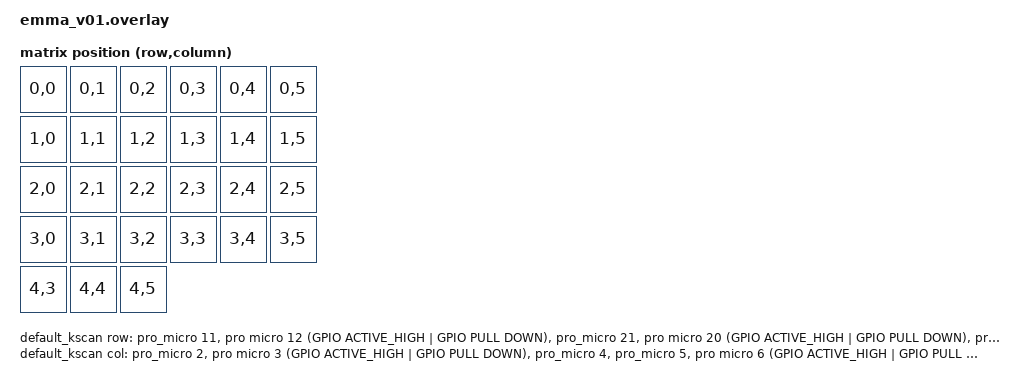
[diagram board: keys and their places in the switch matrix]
#include <dt-bindings/zmk/matrix_transform.h>

/{
    chosen {
        zmk, kscan &default_kscan;
        zmk,matrix_transform = &default_transform;
    };

    default_kscan: kscan {
        compatible "zmk, kscan-gpio-matrix";
        label = "default_kscan";
        diode-direction = "col2row";

        row-gpios = <&pro_micro 11 (GPIO_ACTIVE_HIGH | GPIO_PULL_DOWN)>,
                    <&pro micro 12 (GPIO ACTIVE_HIGH | GPIO PULL DOWN)>,
                    <&pro_micro 21 (GPIO_ACTIVE_HIGH | GPIO_PULL_DOWN)>,
                    <&pro micro 20 (GPIO ACTIVE_HIGH | GPIO PULL DOWN)>,
                    <&pro_micro 19 (GPIO_ACTIVE_HIGH | GPIO_PULL_DOWN)>;
                    
        col-gpios = <&pro_micro 2 (GPIO_ACTIVE_HIGH | GPIO_PULL_DOWN)>,
                    <&pro micro 3 (GPIO ACTIVE_HIGH | GPIO PULL DOWN)>,
                    <&pro_micro 4 (GPIO_ACTIVE_HIGH | GPIO_PULL_DOWN)>,
                    <&pro_micro 5 (GPIO_ACTIVE_HIGH | GPIO_PULL_DOWN)>,
                    <&pro micro 6 (GPIO ACTIVE_HIGH | GPIO PULL DOWN)>,
                    <&pro_micro 7 (GPIO_ACTIVE_HIGH | GPIO_PULL_DOWN)>;

    };

    default_transform: matrix_transform {
        compatible = "zmk,matrix-transform";
        columns = <6>; // Length of the "col-gpios" array
        rows = <5>; // Length of the "row-gpios" array
        map = <
        //   Key 1 | Key 2 | Key 3 | Key 4 | Key 5 | Key 6
            RC(0,0) RC(0,1) RC(0,2) RC(0,3) RC(0,4) RC(0,5)
        //   Key 7 | Key 8 | Key 9 | Key 10 | Key 11 | Key 12
            RC(1,0) RC(1,1) RC(1,2) RC(1,3) RC(1,4) RC(1,5)
        //   Key 13 | Key 14 | Key 15 | Key 16 | Key 17 | Key 18
            RC(2,0) RC(2,1) RC(2,2) RC(2,3) RC(2,4) RC(2,5)
        //   Key 19 | Key 20 | Key 21 | Key 22 | Key 23 | Key 24
            RC(3,0) RC(3,1) RC(3,2) RC(3,3) RC(3,4) RC(3,5)
        //   Key 25 | Key 26 | Key 27 
            RC(4,3) RC(4,4) RC(4,5)
        >;
    };
};



